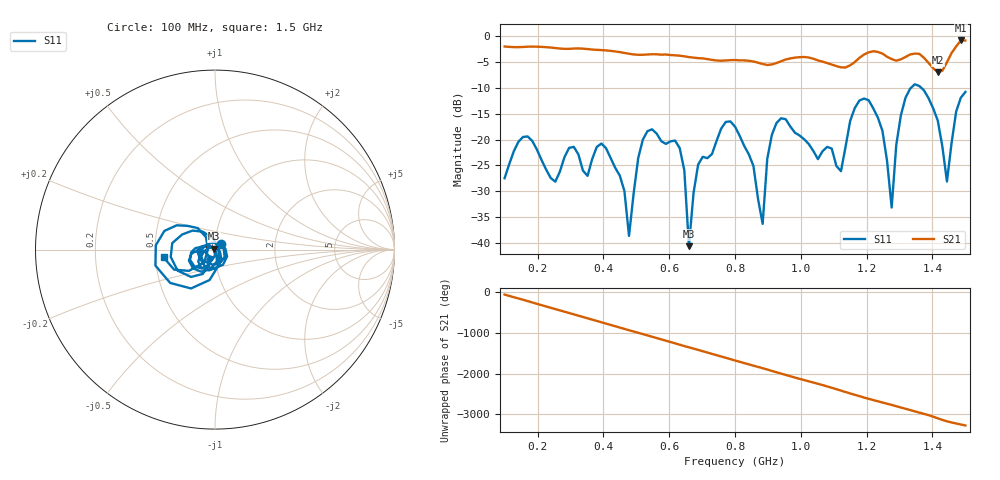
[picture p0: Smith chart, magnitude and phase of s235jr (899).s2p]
! NanoVNA-App
! Date: 2025-09-25 15:11:10
! Start: 100MHz Stop: 1,5GHz Points: 101
! S-Parameter data: F S11 S21 S12 S22
# Hz S RI R 50
!  Frequency  S11_Real  S11_Imag  S21_Real  S21_Imag  S12_Real  S12_Imag  S22_Real  S22_Imag
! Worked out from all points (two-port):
!   101 points, 100 MHz to 1.5 GHz, reference 50 ohm
!   highest |S21| = -0.79 dB at 1.486 GHz (marker M1); lowest = -6.9 dB at 1.416 GHz (marker M2)
!   |S21| within 3 dB of the highest: start of sweep to 637.6 MHz; 1.186 GHz to 1.258 GHz (72.31 MHz wide, 5.92 % of centre) (the widest 2 of 4)
!   lowest |S11| = -40.6 dB at 660 MHz (marker M3), VSWR 1.02, Z = 49.3 + j0.55 ohm
!   |S11| at or under -10 dB: start of sweep to 1.334 GHz; 1.367 GHz to end of sweep
!   S12 and S22 are empty: the file has one direction only
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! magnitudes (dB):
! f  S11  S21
! 100 MHz  -27.5  -2.0
! 170 MHz  -19.4  -2.0
! 338 MHz  -26.0  -2.4
! 408 MHz  -21.6  -2.7
! 478 MHz  -38.6  -3.4
! 520 MHz  -20.0  -3.6
! 576 MHz  -20.3  -3.5
! 632 MHz  -21.6  -3.7
! 660 MHz  -40.6  -4.0
! 688 MHz  -24.8  -4.2
! 800 MHz  -17.5  -4.6
! 884 MHz  -36.3  -5.3
! 926 MHz  -16.8  -5.2
! 1.038 GHz  -22.2  -4.3
! 1.122 GHz  -26.1  -6.0
! 1.206 GHz  -12.4  -3.1
! 1.276 GHz  -33.2  -4.4
! 1.332 GHz  -10.1  -3.5
! 1.416 GHz  -16.3  -6.9
! 1.444 GHz  -28.1  -5.0
! 1.486 GHz  -11.9  -0.8
! 1.5 GHz  -10.8  -0.8
